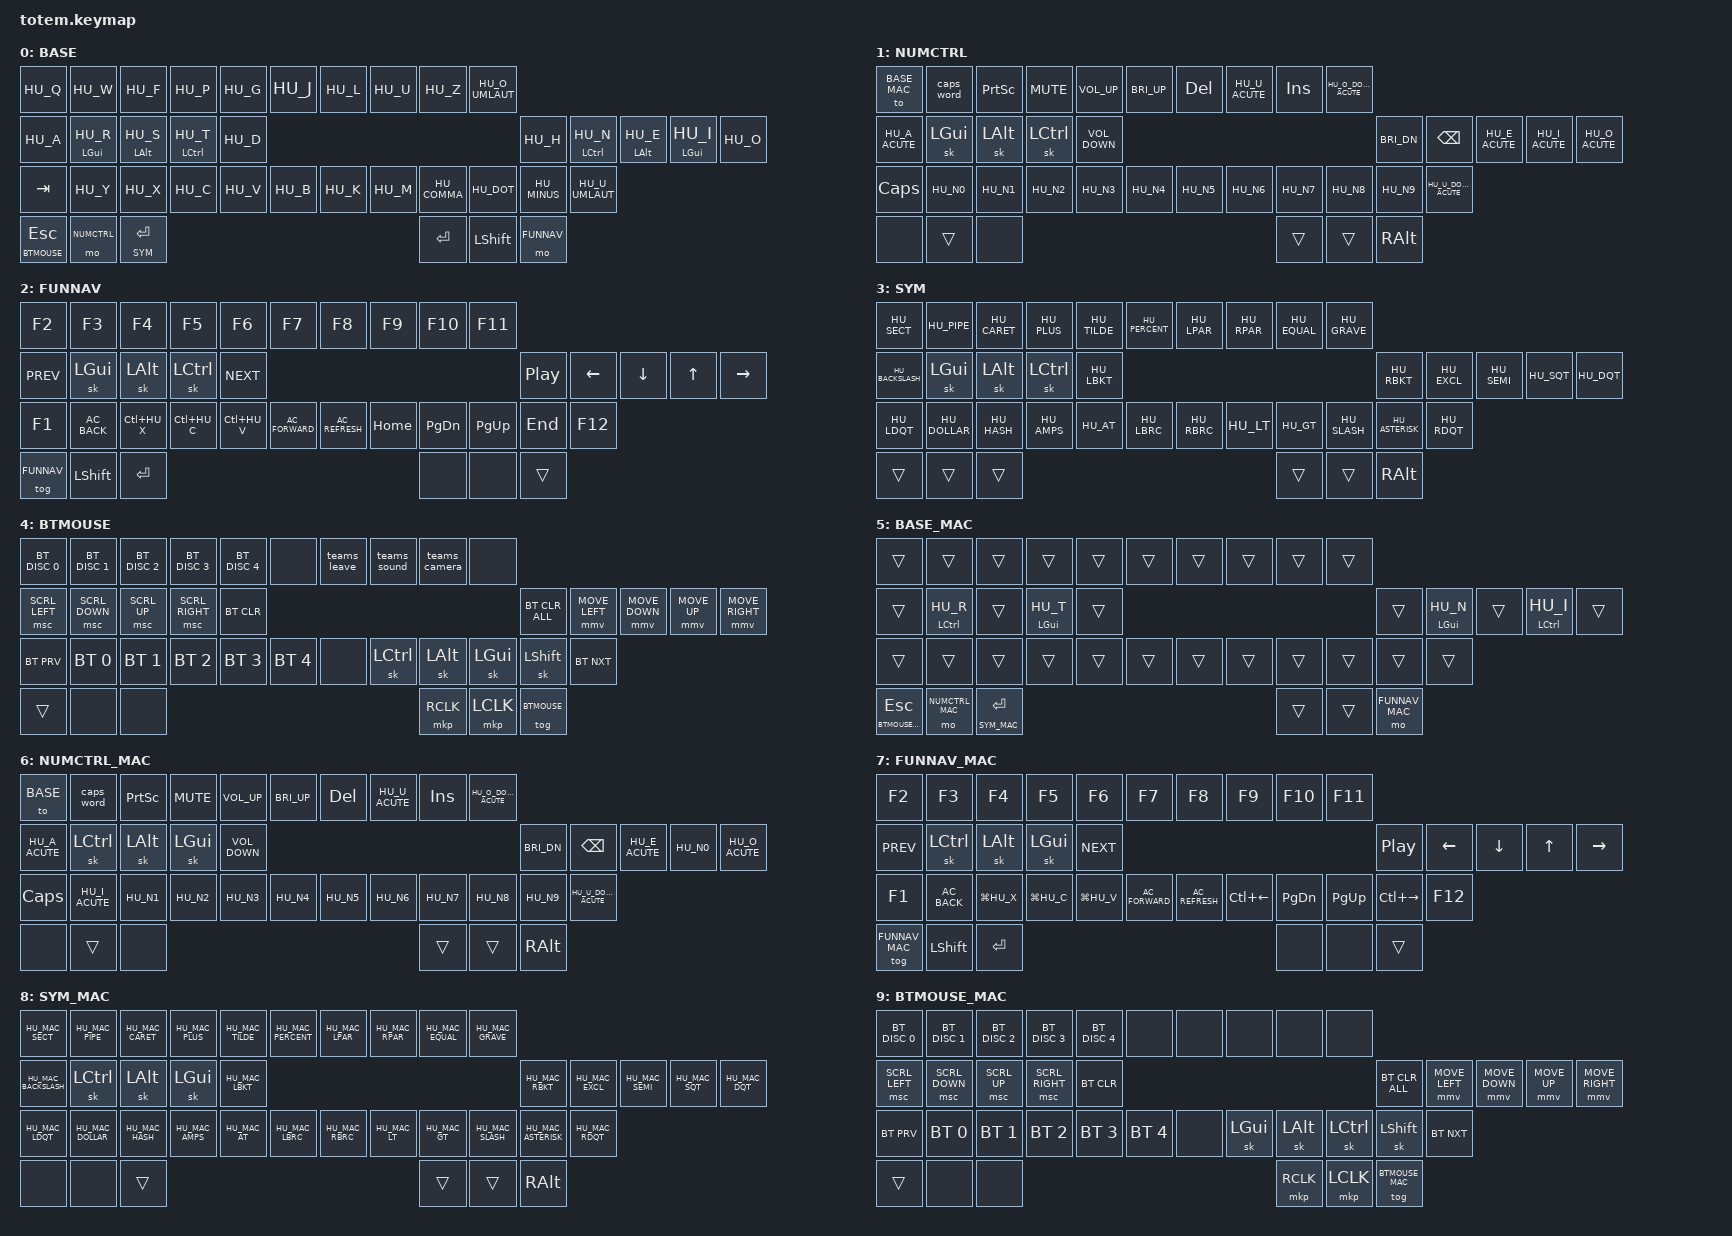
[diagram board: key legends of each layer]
#include <behaviors.dtsi>
#include <dt-bindings/zmk/keys.h>
#include <dt-bindings/zmk/bt.h>
#include <dt-bindings/zmk/outputs.h>
#include <dt-bindings/zmk/behaviors.h>
#include <keys_hu.h>

#define BASE 0
#define NUMCTRL  1
#define FUNNAV  2
#define SYM  3
#define BTMOUSE 4
#define BASE_MAC 5
#define NUMCTRL_MAC 6
#define FUNNAV_MAC 7
#define SYM_MAC 8
#define BTMOUSE_MAC 9

#define HU_LDQT (RA(HU_O))
#define HU_RDQT (RA(HU_P))

#define HU_MAC_SECT (HU_SECT)
#define HU_MAC_PIPE (RA(HU_I_ACUTE))
#define HU_MAC_CARET (RA(HU_A_ACUTE))
#define HU_MAC_PLUS (HU_PLUS)
#define HU_MAC_TILDE (RA(HU_U_ACUTE))
#define HU_MAC_PERCENT (HU_PERCENT)
#define HU_MAC_LPAR (HU_LPAR)
#define HU_MAC_RPAR (HU_RPAR)
#define HU_MAC_EQUAL (HU_EQUAL)
#define HU_MAC_GRAVE (RA(HU_U_DOUBLE_ACUTE))
#define HU_MAC_BACKSLASH (RA(HU_U_UMLAUT))
#define HU_MAC_LBKT (HU_LBKT)
#define HU_MAC_RBKT (HU_RBKT)
#define HU_MAC_EXCL (HU_EXCL)
#define HU_MAC_SEMI (HU_SEMI)
#define HU_MAC_SQT (HU_SQT)
#define HU_MAC_DQT (HU_DQT)
#define HU_MAC_LDQT (RA(HU_V))
#define HU_MAC_DOLLAR (RA(HU_N4))
#define HU_MAC_HASH (RA(LS(HU_N3)))
#define HU_MAC_AMPS (RA(HU_N1))
#define HU_MAC_AT (RA(HU_Q))
#define HU_MAC_LBRC (RA(HU_N7))
#define HU_MAC_RBRC (RA(HU_O_UMLAUT))
#define HU_MAC_LT (RA(LS(HU_Y)))
#define HU_MAC_GT (RA(LS(HU_X)))
#define HU_MAC_SLASH (HU_SLASH))
#define HU_MAC_ASTERISK (RA(LS(HU_COMMA)))
#define HU_MAC_RDQT (RA(HU_B))

#define KEYS_L 0 1 2 3 4 10 11 12 13 14 20 21 22 23 24 25 // Left-hand keys.
#define KEYS_R 5 6 7 8 9 15 16 17 18 19 26 27 28 29 30 31 // Right-hand keys.
#define THUMBS 32 33 34 35 36 37 // Thumb keys.

/ {
	behaviors {
		hml: home_row_mod_left {
			compatible = "zmk,behavior-hold-tap";
			#binding-cells = <2>;
			flavor = "balanced";
			require-prior-idle-ms = <150>;
			tapping-term-ms = <280>;
			quick-tap-ms = <175>;
			bindings = <&kp>, <&kp>;
			hold-trigger-key-positions = <KEYS_R THUMBS>;
			hold-trigger-on-release;
		};
		hmr: home_row_mod_right {
			compatible = "zmk,behavior-hold-tap";
			#binding-cells = <2>;
			flavor = "balanced";
			require-prior-idle-ms = <150>;
			tapping-term-ms = <280>;
			quick-tap-ms = <175>;
			bindings = <&kp>, <&kp>;
			hold-trigger-key-positions = <KEYS_L THUMBS>;
			hold-trigger-on-release;
		};
	};
	
	combos {
		compatible = "zmk,combos";
		combo_em_dash {
			timeout-ms = <50>;
			layers = <BASE>;
			key-positions = <29 30>;
			bindings = <&kp RA(HU_Z)>;
		};
		combo_em_dash_mac {
			timeout-ms = <50>;
			layers = <BASE_MAC>;
			key-positions = <29 30>;
			bindings = <&kp LA(HU_MINUS)>;
		};
		combo_word_start {
			timeout-ms = <50>;
			layers = <FUNNAV>;
			key-positions = <27 28>;
			bindings = <&kp LC(LEFT)>;
		};
		combo_word_end {
			timeout-ms = <50>;
			layers = <FUNNAV>;
			key-positions = <28 29>;
			bindings = <&kp LC(RIGHT)>;
		};
		combo_word_start_mac {
			timeout-ms = <50>;
			layers = <FUNNAV_MAC>;
			key-positions = <27 28>;
			bindings = <&kp LA(LEFT)>;
		};
		combo_word_end_mac {
			timeout-ms = <50>;
			layers = <FUNNAV_MAC>;
			key-positions = <28 29>;
			bindings = <&kp LA(RIGTH)>;
		};
    	};

    	macros {
		teams_leave: teams_leave {
		    label = "teams_leave";
		    compatible = "zmk,behavior-macro";
		    #binding-cells = <0>;
		    bindings
		        = <&macro_tap &kp LG(HU_N5)>
		        , <&macro_tap &kp LC(LS(HU_H))>
		        ;
		};
		teams_sound: teams_sound {
		    label = "teams_sound";
		    compatible = "zmk,behavior-macro";
		    #binding-cells = <0>;
		    bindings
		        = <&macro_tap &kp LG(HU_N5)>
		        , <&macro_tap &kp LC(LS(HU_M))>
		        ;
		};
		teams_camera: teams_camera {
		    label = "teams_camera";
		    compatible = "zmk,behavior-macro";
		    #binding-cells = <0>;
		    bindings
		        = <&macro_tap &kp LG(HU_N5)>
		        , <&macro_tap &kp LC(LS(HU_O))>
		        ;
		};
	};

	keymap {
		compatible = "zmk,keymap";
		
		base_layer {
			label= "BASE";
			bindings = <
			&kp HU_Q &kp HU_W &kp HU_F &kp HU_P &kp HU_G &kp HU_J &kp HU_L &kp HU_U &kp HU_Z &kp HU_O_UMLAUT
			&kp HU_A &hml LGUI HU_R &hml LALT HU_S &hml LCTRL HU_T &kp HU_D &kp HU_H &hmr LCTRL HU_N &hmr LALT HU_E &hmr LGUI HU_I &kp HU_O
			&kp TAB &kp HU_Y &kp HU_X &kp HU_C &kp HU_V &kp HU_B &kp HU_K &kp HU_M &kp HU_COMMA &kp HU_DOT &kp HU_MINUS &kp HU_U_UMLAUT
			&lt BTMOUSE ESC &mo NUMCTRL &lt SYM ENTER &kp RET &kp LSHIFT &mo FUNNAV
		        >;
		};
                
        numctrl_layer {
			label= "NUMCTRL";
			bindings = <
			&to BASE_MAC &caps_word &kp PRINTSCREEN &kp C_MUTE &kp C_VOLUME_UP &kp BRI_UP &kp DEL &kp HU_U_ACUTE &kp INS &kp HU_O_DOUBLE_ACUTE
			&kp HU_A_ACUTE &sk LGUI &sk LALT &sk LCTRL &kp C_VOLUME_DOWN &kp BRI_DN &kp BSPC &kp HU_E_ACUTE &kp HU_I_ACUTE &kp HU_O_ACUTE
			&kp CAPS &kp HU_N0 &kp HU_N1 &kp HU_N2 &kp HU_N3 &kp HU_N4 &kp HU_N5 &kp HU_N6 &kp HU_N7 &kp HU_N8 &kp HU_N9 &kp HU_U_DOUBLE_ACUTE
			&none &trans &none &trans &trans &kp RALT
                        >;
                };
		
		funnav_layer {
			label= "FUNNAV";
			bindings = <
			&kp F2 &kp F3 &kp F4 &kp F5 &kp F6 &kp F7 &kp F8 &kp F9 &kp F10 &kp F11
			&kp C_PREV &sk LGUI &sk LALT &sk LCTRL &kp C_NEXT &kp C_PLAY_PAUSE &kp LEFT &kp DOWN &kp UP &kp RIGHT
			&kp F1 &kp C_AC_BACK &kp LC(HU_X) &kp LC(HU_C) &kp LC(HU_V) &kp C_AC_FORWARD &kp C_AC_REFRESH &kp HOME &kp PG_DN &kp PG_UP &kp END &kp F12
			&tog FUNNAV &kp LSHIFT &kp ENTER &none &none &trans
                        >;
                };
                
        sym_layer {
			label= "SYM";
			bindings = <
			&kp HU_SECT &kp HU_PIPE &kp HU_CARET &kp HU_PLUS &kp HU_TILDE &kp HU_PERCENT &kp HU_LPAR &kp HU_RPAR &kp HU_EQUAL &kp HU_GRAVE
			&kp HU_BACKSLASH &sk LGUI &sk LALT &sk LCTRL &kp HU_LBKT &kp HU_RBKT &kp HU_EXCL &kp HU_SEMI &kp HU_SQT &kp HU_DQT
			&kp HU_LDQT &kp HU_DOLLAR &kp HU_HASH &kp HU_AMPS &kp HU_AT &kp HU_LBRC &kp HU_RBRC &kp HU_LT &kp HU_GT &kp HU_SLASH &kp HU_ASTERISK &kp HU_RDQT
			&trans &trans &trans &trans &trans &kp RALT
                        >;
                };

        btmouse_layer {
			label= "BTMOUSE";
			bindings = <
			&bt BT_DISC 0 &bt BT_DISC 1 &bt BT_DISC 2 &bt BT_DISC 3 &bt BT_DISC 4 &none &teams_leave &teams_sound &teams_camera &none
			&msc SCRL_LEFT &msc SCRL_DOWN &msc SCRL_UP &msc SCRL_RIGHT &bt BT_CLR &bt BT_CLR_ALL &mmv MOVE_LEFT &mmv MOVE_DOWN &mmv MOVE_UP &mmv MOVE_RIGHT
			&bt BT_PRV &bt BT_SEL 0 &bt BT_SEL 1 &bt BT_SEL 2 &bt BT_SEL 3 &bt BT_SEL 4 &none &sk LCTRL &sk LALT &sk LGUI &sk LSHIFT &bt BT_NXT
			&trans &none &none &mkp RCLK &mkp LCLK &tog BTMOUSE
                        >;
                };
		
		base_mac_layer {
			label= "BASE_MAC";
			bindings = <
			&trans &trans &trans &trans &trans &trans &trans &trans &trans &trans
			&trans &hml LCTRL HU_R &trans &hml LGUI HU_T &trans &trans &hmr LGUI HU_N &trans &hmr LCTRL HU_I &trans
			&trans &trans &trans &trans &trans &trans &trans &trans &trans &trans &trans &trans
			&lt BTMOUSE_MAC ESC &mo NUMCTRL_MAC &lt SYM_MAC ENTER &trans &trans &mo FUNNAV_MAC
                        >;
                };
                
        numctrl_mac_layer {
			label= "NUMCTRL_MAC";
			bindings = <
			&to BASE &caps_word &kp PRINTSCREEN &kp C_MUTE &kp C_VOLUME_UP &kp BRI_UP &kp DEL &kp HU_U_ACUTE &kp INS &kp HU_O_DOUBLE_ACUTE
			&kp HU_A_ACUTE &sk LCTRL &sk LALT &sk LGUI &kp C_VOLUME_DOWN &kp BRI_DN &kp BSPC &kp HU_E_ACUTE &kp HU_N0 &kp HU_O_ACUTE
			&kp CAPS &kp HU_I_ACUTE &kp HU_N1 &kp HU_N2 &kp HU_N3 &kp HU_N4 &kp HU_N5 &kp HU_N6 &kp HU_N7 &kp HU_N8 &kp HU_N9 &kp HU_U_DOUBLE_ACUTE
			&none &trans &none &trans &trans &kp RALT
                        >;
                };
                
        funnav_mac_layer {
			label= "FUNNAV_MAC";
			bindings = <
			&kp F2 &kp F3 &kp F4 &kp F5 &kp F6 &kp F7 &kp F8 &kp F9 &kp F10 &kp F11
			&kp C_PREV &sk LCTRL &sk LALT &sk LGUI &kp C_NEXT &kp C_PLAY_PAUSE &kp LEFT &kp DOWN &kp UP &kp RIGHT
			&kp F1 &kp C_AC_BACK &kp LG(HU_X) &kp LG(HU_C) &kp LG(HU_V) &kp C_AC_FORWARD &kp C_AC_REFRESH &kp LC(LEFT) &kp PG_DN &kp PG_UP &kp LC(RIGHT) &kp F12
			&tog FUNNAV_MAC &kp LSHIFT &kp ENTER &none &none &trans
                        >;
                };
                
        sym_mac_layer {
			label= "SYM_MAC";
			bindings = <
			&kp HU_MAC_SECT &kp HU_MAC_PIPE &kp HU_MAC_CARET &kp HU_MAC_PLUS &kp HU_MAC_TILDE &kp HU_MAC_PERCENT &kp HU_MAC_LPAR &kp HU_MAC_RPAR &kp HU_MAC_EQUAL &kp HU_MAC_GRAVE
			&kp HU_MAC_BACKSLASH &sk LCTRL &sk LALT &sk LGUI &kp HU_MAC_LBKT &kp HU_MAC_RBKT &kp HU_MAC_EXCL &kp HU_MAC_SEMI &kp HU_MAC_SQT &kp HU_MAC_DQT
			&kp HU_MAC_LDQT &kp HU_MAC_DOLLAR &kp HU_MAC_HASH &kp HU_MAC_AMPS &kp HU_MAC_AT &kp HU_MAC_LBRC &kp HU_MAC_RBRC &kp HU_MAC_LT &kp HU_MAC_GT &kp HU_MAC_SLASH &kp HU_MAC_ASTERISK &kp HU_MAC_RDQT
			&none &none &trans &trans &trans &kp RALT
                        >;
                };
                
        btmouse_mac_layer {
			label= "BTMOUSE_MAC";
			bindings = <
			&bt BT_DISC 0 &bt BT_DISC 1 &bt BT_DISC 2 &bt BT_DISC 3 &bt BT_DISC 4 &none &none &none &none &none
			&msc SCRL_LEFT &msc SCRL_DOWN &msc SCRL_UP &msc SCRL_RIGHT &bt BT_CLR &bt BT_CLR_ALL &mmv MOVE_LEFT &mmv MOVE_DOWN &mmv MOVE_UP &mmv MOVE_RIGHT
			&bt BT_PRV &bt BT_SEL 0 &bt BT_SEL 1 &bt BT_SEL 2 &bt BT_SEL 3 &bt BT_SEL 4 &none &sk LGUI &sk LALT &sk LCTRL &sk LSHIFT &bt BT_NXT
			&trans &none &none &mkp RCLK &mkp LCLK &tog BTMOUSE_MAC
                        >;
                };
        };
};
